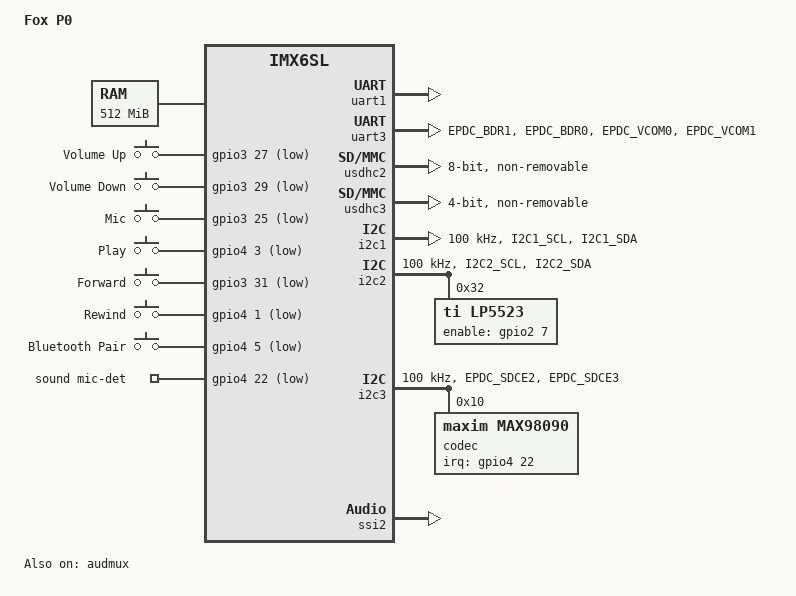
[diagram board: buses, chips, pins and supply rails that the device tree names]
/dts-v1/;

#include "imx6sl.dtsi"

/ {
	model = "Fox P0";
	compatible = "amzn,fox", "fsl,imx6sl";

	memory {
		reg = <0x80000000 0x20000000>;
	};

	/* gpio-keys is only applicable for FOX P0. For P1 with HW changes, keymap driver will be used.
	* support wakeup only for 2 buttons for now - MIC and BT PAIR.
	* key code could be found in input.h.
	* Last value in gpios property is 1 - ACTIVE_LOW.
	*/
	gpio-keys {
		compatible = "gpio-keys";

		volume-up {
			label = "Volume Up";
			gpios = <&gpio3 27 1>;
			linux,code = <115>; /* KEY_VOLUMEUP */
			debounce_interval = <20>;
		};

		volume-down {
			label = "Volume Down";
			gpios = <&gpio3 29 1>;
			linux,code = <114>; /* KEY_VOLUMEDOWN */
			debounce_interval = <20>;
		};
		mic {
			label = "Mic";
			gpios = <&gpio3 25 1>;
			linux,code = <143>; /* KEY_WAKEUP - there is no KEY_MIC code. */
			debounce_interval = <20>;
			gpio-key,wakeup;
		};
		play {
			label = "Play";
			gpios = <&gpio4 3 1>;
			linux,code = <164>; /* KEY_PLAYPAUSE */
			debounce_interval = <20>;
		};
		forward {
			label = "Forward";
			gpios = <&gpio3 31 1>;
			linux,code = <159>; /* KEY_FORWARD */
			debounce_interval = <20>;
		};
		rewind {
			label = "Rewind";
			gpios = <&gpio4 1 1>;
			linux,code = <168>; /* KEY_REWIND */
			debounce_interval = <20>;
		};
		bt-pair {
			label = "Bluetooth Pair";
			gpios = <&gpio4 5 1>;
			linux,code = <218>; /* KEY_CONNECT - there is no BT_PAIR code. */
			debounce_interval = <20>;
			gpio-key,wakeup;
		};
		/* There is no POWER KEY for FOX P0. */

	};

	sound {
		compatible = "fsl,imx-audio-max98090";
		model = "MAX98090-audio";
		cpu-dai = <&ssi2>;
		audio-codec = <&codec>;
		audio-routing =
			"Main SpeakerL", "RCVL",
			"Main SpeakerR", "RCVR",
			"Line Jack", "IN3",
			"Line Jack", "IN5",
			"AMIC", "IN1",
			"AMIC", "IN2";
		mux-int-port = <2>;
		mux-ext-port = <3>;
		mic-det-gpios = <&gpio4 22 1>;
	};
};

&epdc {
	status = "disabled";
};

&kpp {
	status = "disabled";
};

&usdhc1 {
	status = "disabled";
};

&uart2 {
	status = "disabled";
};

&uart4 {
	status = "disabled";
};

&uart1 {
	pinctrl-names = "default";
	pinctrl-0 = <&pinctrl_uart1_1>;
	status = "okay";
};

&uart3 {
	pinctrl-names = "default";
	pinctrl-0 = <&pinctrl_uart3_1>;
	fsl,uart-has-rtscts;
	status = "okay";
};

&usdhc2 {
	pinctrl-names = "default", "state_100mhz", "state_200mhz";
	pinctrl-0 = <&pinctrl_usdhc2_1>;
	pinctrl-1 = <&pinctrl_usdhc2_1_100mhz>;
	pinctrl-2 = <&pinctrl_usdhc2_1_200mhz>;
	non-removable;
	keep-power-in-suspend;
	enable-sdio-wakeup;
	bus-width = <8>;
	fsl,delay-line;
	status = "okay";
};

&usdhc3 {
	pinctrl-names = "default", "state_100mhz", "state_200mhz";
	pinctrl-0 = <&pinctrl_usdhc3_1>;
	pinctrl-1 = <&pinctrl_usdhc3_1_100mhz>;
	pinctrl-2 = <&pinctrl_usdhc3_1_200mhz>;
	non-removable;
	keep-power-in-suspend;
	enable-sdio-wakeup;
	bus-width = <4>;
	fsl,delay-line;
	status = "okay";
};

&i2c1 {
	clock-frequency = <100000>;
	pinctrl-names = "default";
	pinctrl-0 = <&pinctrl_i2c1_1>;
	status = "okay";
};

&i2c2 {
	clock-frequency = <100000>;
	pinctrl-names = "default";
	pinctrl-0 = <&pinctrl_i2c2_1>;
	status = "okay";

	lp5523@32 {
		compatible = "ti,lp5523";
		reg = <0x32>;
		clock-mode = /bits/ 8 <0>;
		enable-gpio = <&gpio2 7 0>;

		chan0 {
			chan-name = "lp5523:channel0";
			led-cur = /bits/ 8 <150>;
			max-cur = /bits/ 8 <150>;
		};

		chan1 {
			chan-name = "lp5523:channel1";
			led-cur = /bits/ 8 <150>;
			max-cur = /bits/ 8 <150>;
		};

		chan2 {
			chan-name = "lp5523:channel2";
			led-cur = /bits/ 8 <150>;
			max-cur = /bits/ 8 <150>;
		};

		chan3 {
			chan-name = "lp5523:channel3";
			led-cur = /bits/ 8 <150>;
			max-cur = /bits/ 8 <150>;
		};

		chan4 {
			chan-name = "lp5523:channel4";
			led-cur = /bits/ 8 <150>;
			max-cur = /bits/ 8 <150>;
		};

		chan5 {
			chan-name = "lp5523:channel5";
			led-cur = /bits/ 8 <150>;
			max-cur = /bits/ 8 <150>;
		};

		chan6 {
			chan-name = "lp5523:channel6";
			led-cur = /bits/ 8 <150>;
			max-cur = /bits/ 8 <150>;
		};

		chan7 {
			chan-name = "lp5523:channel7";
			led-cur = /bits/ 8 <150>;
			max-cur = /bits/ 8 <150>;
		};

		chan8 {
			chan-name = "lp5523:channel8";
			led-cur = /bits/ 8 <150>;
			max-cur = /bits/ 8 <150>;
		};
	};
};

&i2c3 {
	clock-frequency = <100000>;
	pinctrl-names = "default";
	pinctrl-0 = <&pinctrl_i2c3_1>;
	status = "okay";

	codec: max98090@10 {
		compatible = "maxim,max98090";
		reg = <0x10>;
		interrupt-parent = <&gpio4>;
		clocks = <&clks IMX6SL_CLK_EXTERN_AUDIO>;
		clock-names = "mclk";
		interrupts = <22 2>;
	};
};

&audmux {
	pinctrl-names = "default";
	pinctrl-0 = <&pinctrl_audmux3_1>;
	status = "okay";
};

/*
 * pinmux
 */
&iomuxc {
	uart3 {
		pinctrl_uart3_1: uart3grp-1 {
			fsl,pins = <
				/* pull up */
				MX6SL_PAD_EPDC_BDR1__UART3_CTS_B	0x41b0b1
				MX6SL_PAD_EPDC_BDR0__UART3_RTS_B	0x41b0b1
				MX6SL_PAD_EPDC_VCOM0__UART3_RX_DATA	0x41b0b1
				/* pull down */
				MX6SL_PAD_EPDC_VCOM1__UART3_TX_DATA	0x4130b1
			>;
		};
	};

	audmux3 {
		pinctrl_audmux3_1: audmuxgrp3-1 {
			fsl,pins = <
				MX6SL_PAD_AUD_RXD__AUD3_RXD		0x4130b0
				MX6SL_PAD_AUD_TXC__AUD3_TXC		0x4130b0
				MX6SL_PAD_AUD_TXD__AUD3_TXD		0x4110b0
				MX6SL_PAD_AUD_TXFS__AUD3_TXFS		0x4130b0
				MX6SL_PAD_AUD_MCLK__AUDIO_CLK_OUT	0x4130b0
			>;
		};
	};

	audmux4 {
		pinctrl_audmux4_1: audmux4-1 {
			fsl,pins = <
				MX6SL_PAD_ECSPI1_SS0__AUD4_RXD		0x4130b0
				MX6SL_PAD_ECSPI1_MOSI__AUD4_TXC		0x4130b0
				MX6SL_PAD_ECSPI1_MISO__AUD4_TXFS	0x4130b0
				MX6SL_PAD_ECSPI1_SCLK__AUD4_TXD		0x4110b0
			>;
		};
	};

	i2c1 {
		pinctrl_i2c1_1: i2c1grp-1 {
			fsl,pins = <
				MX6SL_PAD_I2C1_SCL__I2C1_SCL		0x404108b1
				MX6SL_PAD_I2C1_SDA__I2C1_SDA		0x404108b1
			>;
		};
	};

	i2c2 {
		pinctrl_i2c2_1: i2c2grp-1 {
			fsl,pins = <
				MX6SL_PAD_I2C2_SCL__I2C2_SCL		0x404108b0
				MX6SL_PAD_I2C2_SDA__I2C2_SDA		0x404108b0
			>;
		};
	};

	i2c3 {
		pinctrl_i2c3_1: i2c3grp-1 {
			fsl,pins = <
				MX6SL_PAD_EPDC_SDCE2__I2C3_SCL		0x404108b0
				MX6SL_PAD_EPDC_SDCE3__I2C3_SDA		0x404108b0
			>;
		};
	};

};

&ssi2 {
	fsl,mode = "i2s-slave";
	status = "okay";
};
